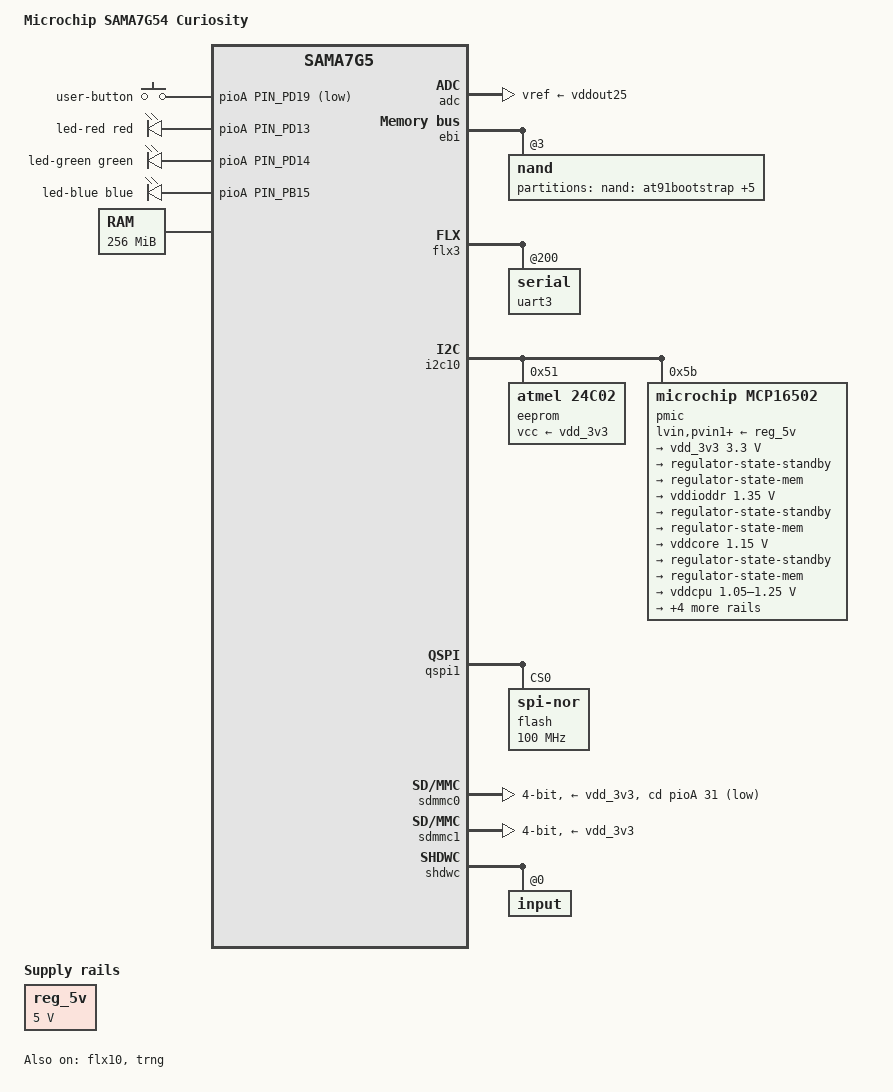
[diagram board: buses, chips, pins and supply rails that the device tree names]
// SPDX-License-Identifier: (GPL-2.0+ OR MIT)
/*
 * at91-sama7g54_curiosity.dts - Device Tree file for SAMA7G54 Curiosity Board
 *
 * Copyright (C) 2024 Microchip Technology Inc. and its subsidiaries
 *
 * Author: Mihai Sain <mihai.sain@microchip.com>
 *
 */
/dts-v1/;
#include "sama7g5-pinfunc.h"
#include "sama7g5.dtsi"
#include <dt-bindings/input/input.h>
#include <dt-bindings/leds/common.h>
#include <dt-bindings/mfd/atmel-flexcom.h>
#include <dt-bindings/pinctrl/at91.h>

/ {
	model = "Microchip SAMA7G54 Curiosity";
	compatible = "microchip,sama7g54-curiosity", "microchip,sama7g5", "microchip,sama7";

	aliases {
		serial0 = &uart3;
		i2c0 = &i2c10;
	};

	chosen {
		stdout-path = "serial0:115200n8";
	};

	gpio-keys {
		compatible = "gpio-keys";
		pinctrl-names = "default";
		pinctrl-0 = <&pinctrl_key_gpio_default>;

		button-user {
			label = "user-button";
			gpios = <&pioA PIN_PD19 GPIO_ACTIVE_LOW>;
			linux,code = <KEY_PROG1>;
			wakeup-source;
		};
	};

	leds {
		compatible = "gpio-leds";
		pinctrl-names = "default";
		pinctrl-0 = <&pinctrl_led_gpio_default>;

		led-red {
			color = <LED_COLOR_ID_RED>;
			function = LED_FUNCTION_POWER;
			gpios = <&pioA PIN_PD13 GPIO_ACTIVE_HIGH>;
			default-state = "off";
		};

		led-green {
			color = <LED_COLOR_ID_GREEN>;
			function = LED_FUNCTION_BOOT;
			gpios = <&pioA PIN_PD14 GPIO_ACTIVE_HIGH>;
			default-state = "off";
		};

		led-blue {
			color = <LED_COLOR_ID_BLUE>;
			function = LED_FUNCTION_CPU;
			gpios = <&pioA PIN_PB15 GPIO_ACTIVE_HIGH>;
			linux,default-trigger = "heartbeat";
		};
	};

	memory@60000000 {
		device_type = "memory";
		reg = <0x60000000 0x10000000>; /* 256 MiB DDR3L-1066 16-bit */
	};

	reg_5v: regulator-5v {
		compatible = "regulator-fixed";
		regulator-name = "5V_MAIN";
		regulator-min-microvolt = <5000000>;
		regulator-max-microvolt = <5000000>;
		regulator-always-on;
	};
};

&adc {
	vddana-supply = <&vddout25>;
	vref-supply = <&vddout25>;
	pinctrl-names = "default";
	pinctrl-0 = <&pinctrl_mikrobus1_an_default &pinctrl_mikrobus2_an_default>;
	status = "okay";
};

&cpu0 {
	cpu-supply = <&vddcpu>;
};

&dma0 {
	status = "okay";
};

&dma1 {
	status = "okay";
};

&dma2 {
	status = "okay";
};

&ebi {
	pinctrl-names = "default";
	pinctrl-0 = <&pinctrl_nand_default>;
	status = "okay";

	nand_controller: nand-controller {
		status = "okay";

		nand@3 {
			reg = <0x3 0x0 0x800000>;
			atmel,rb = <0>;
			nand-bus-width = <8>;
			nand-ecc-mode = "hw";
			nand-ecc-strength = <8>;
			nand-ecc-step-size = <512>;
			nand-on-flash-bbt;
			label = "nand";

			partitions {
				compatible = "fixed-partitions";
				#address-cells = <1>;
				#size-cells = <1>;

				at91bootstrap@0 {
					label = "nand: at91bootstrap";
					reg = <0x0 0x40000>;
				};

				bootloader@40000 {
					label = "nand: u-boot";
					reg = <0x40000 0x100000>;
				};

				bootloaderenv@140000 {
					label = "nand: u-boot env";
					reg = <0x140000 0x40000>;
				};

				dtb@180000 {
					label = "nand: device tree";
					reg = <0x180000 0x80000>;
				};

				kernel@200000 {
					label = "nand: kernel";
					reg = <0x200000 0x600000>;
				};

				rootfs@800000 {
					label = "nand: rootfs";
					reg = <0x800000 0x1f800000>;
				};
			};
		};
	};
};

&flx3 {
	atmel,flexcom-mode = <ATMEL_FLEXCOM_MODE_USART>;
	status = "okay";

	uart3: serial@200 {
		pinctrl-names = "default";
		pinctrl-0 = <&pinctrl_flx3_default>;
		status = "okay";
	};
};

&flx10 {
	atmel,flexcom-mode = <ATMEL_FLEXCOM_MODE_TWI>;
	status = "okay";

	i2c10: i2c@600 {
		pinctrl-names = "default";
		pinctrl-0 = <&pinctrl_flx10_default>;
		i2c-analog-filter;
		i2c-digital-filter;
		i2c-digital-filter-width-ns = <35>;
		status = "okay";

		eeprom@51 {
			compatible = "atmel,24c02";
			reg = <0x51>;
			pagesize = <16>;
			size = <256>;
			vcc-supply = <&vdd_3v3>;
		};

		pmic@5b {
			compatible = "microchip,mcp16502";
			reg = <0x5b>;
			lvin-supply = <&reg_5v>;
			pvin1-supply = <&reg_5v>;
			pvin2-supply = <&reg_5v>;
			pvin3-supply = <&reg_5v>;
			pvin4-supply = <&reg_5v>;

			regulators {
				vdd_3v3: VDD_IO {
					regulator-name = "VDD_IO";
					regulator-min-microvolt = <3300000>;
					regulator-max-microvolt = <3300000>;
					regulator-initial-mode = <2>;
					regulator-allowed-modes = <2>, <4>;
					regulator-always-on;

					regulator-state-standby {
						regulator-on-in-suspend;
						regulator-suspend-microvolt = <3300000>;
						regulator-mode = <4>;
					};

					regulator-state-mem {
						regulator-off-in-suspend;
						regulator-mode = <4>;
					};
				};

				vddioddr: VDD_DDR {
					regulator-name = "VDD_DDR";
					regulator-min-microvolt = <1350000>;
					regulator-max-microvolt = <1350000>;
					regulator-initial-mode = <2>;
					regulator-allowed-modes = <2>, <4>;
					regulator-always-on;

					regulator-state-standby {
						regulator-on-in-suspend;
						regulator-suspend-microvolt = <1350000>;
						regulator-mode = <4>;
					};

					regulator-state-mem {
						regulator-on-in-suspend;
						regulator-suspend-microvolt = <1350000>;
						regulator-mode = <4>;
					};
				};

				vddcore: VDD_CORE {
					regulator-name = "VDD_CORE";
					regulator-min-microvolt = <1150000>;
					regulator-max-microvolt = <1150000>;
					regulator-initial-mode = <2>;
					regulator-allowed-modes = <2>, <4>;
					regulator-always-on;

					regulator-state-standby {
						regulator-on-in-suspend;
						regulator-suspend-microvolt = <1150000>;
						regulator-mode = <4>;
					};

					regulator-state-mem {
						regulator-off-in-suspend;
						regulator-mode = <4>;
					};
				};

				vddcpu: VDD_OTHER {
					regulator-name = "VDD_OTHER";
					regulator-min-microvolt = <1050000>;
					regulator-max-microvolt = <1250000>;
					regulator-initial-mode = <2>;
					regulator-allowed-modes = <2>, <4>;
					regulator-ramp-delay = <3125>;
					regulator-always-on;

					regulator-state-standby {
						regulator-on-in-suspend;
						regulator-suspend-microvolt = <1050000>;
						regulator-mode = <4>;
					};

					regulator-state-mem {
						regulator-off-in-suspend;
						regulator-mode = <4>;
					};
				};

				vldo1: LDO1 {
					regulator-name = "LDO1";
					regulator-min-microvolt = <1800000>;
					regulator-max-microvolt = <1800000>;
					regulator-always-on;

					regulator-state-standby {
						regulator-suspend-microvolt = <1800000>;
						regulator-on-in-suspend;
					};

					regulator-state-mem {
						regulator-off-in-suspend;
					};
				};

				vldo2: LDO2 {
					regulator-name = "LDO2";
					regulator-min-microvolt = <3300000>;
					regulator-max-microvolt = <3300000>;
					regulator-always-on;

					regulator-state-standby {
						regulator-suspend-microvolt = <3300000>;
						regulator-on-in-suspend;
					};

					regulator-state-mem {
						regulator-off-in-suspend;
					};
				};
			};
		};
	};
};

&main_xtal {
	clock-frequency = <24000000>;
};

&qspi1 {
	pinctrl-names = "default";
	pinctrl-0 = <&pinctrl_qspi1_default>;
	status = "okay";

	flash@0 {
		compatible = "jedec,spi-nor";
		reg = <0x0>;
		spi-max-frequency = <100000000>;
		spi-tx-bus-width = <4>;
		spi-rx-bus-width = <4>;
		m25p,fast-read;
	};
};

&pioA {
	pinctrl_flx3_default: flx3-default {
		pinmux = <PIN_PD16__FLEXCOM3_IO0>,
			 <PIN_PD17__FLEXCOM3_IO1>;
		bias-pull-up;
	};

	pinctrl_flx10_default: flx10-default {
		pinmux = <PIN_PC30__FLEXCOM10_IO0>,
			 <PIN_PC31__FLEXCOM10_IO1>;
		bias-pull-up;
	};

	pinctrl_key_gpio_default: key-gpio-default {
		pinmux = <PIN_PD19__GPIO>;
		bias-pull-up;
	};

	pinctrl_led_gpio_default: led-gpio-default {
		pinmux = <PIN_PD13__GPIO>,
			 <PIN_PD14__GPIO>,
			 <PIN_PB15__GPIO>;
		bias-pull-up;
	};

	pinctrl_mikrobus1_an_default: mikrobus1-an-default {
		pinmux = <PIN_PC15__GPIO>;
		bias-disable;
	};

	pinctrl_mikrobus2_an_default: mikrobus2-an-default {
		pinmux = <PIN_PC13__GPIO>;
		bias-disable;
	};

	pinctrl_nand_default: nand-default {
		pinmux = <PIN_PD9__D0>,
			 <PIN_PD10__D1>,
			 <PIN_PD11__D2>,
			 <PIN_PC21__D3>,
			 <PIN_PC22__D4>,
			 <PIN_PC23__D5>,
			 <PIN_PC24__D6>,
			 <PIN_PD2__D7>,
			 <PIN_PD3__NANDRDY>,
			 <PIN_PD4__NCS3_NANDCS>,
			 <PIN_PD5__NWE_NWR0_NANDWE>,
			 <PIN_PD6__NRD_NANDOE>,
			 <PIN_PD7__A21_NANDALE>,
			 <PIN_PD8__A22_NANDCLE>;
		bias-disable;
		slew-rate = <0>;
	};

	pinctrl_qspi1_default: qspi1-default {
		pinmux = <PIN_PB22__QSPI1_IO3>,
			 <PIN_PB23__QSPI1_IO2>,
			 <PIN_PB24__QSPI1_IO1>,
			 <PIN_PB25__QSPI1_IO0>,
			 <PIN_PB26__QSPI1_CS>,
			 <PIN_PB27__QSPI1_SCK>;
		bias-pull-up;
		slew-rate = <0>;
	};

	pinctrl_sdmmc0_default: sdmmc0-default {
		pinmux = <PIN_PA0__SDMMC0_CK>,
			 <PIN_PA1__SDMMC0_CMD>,
			 <PIN_PA2__SDMMC0_RSTN>,
			 <PIN_PA3__SDMMC0_DAT0>,
			 <PIN_PA4__SDMMC0_DAT1>,
			 <PIN_PA5__SDMMC0_DAT2>,
			 <PIN_PA6__SDMMC0_DAT3>;
		bias-pull-up;
		slew-rate = <0>;
	};

	pinctrl_sdmmc1_default: sdmmc1-default {
		pinmux = <PIN_PB29__SDMMC1_CMD>,
			 <PIN_PB30__SDMMC1_CK>,
			 <PIN_PB31__SDMMC1_DAT0>,
			 <PIN_PC0__SDMMC1_DAT1>,
			 <PIN_PC1__SDMMC1_DAT2>,
			 <PIN_PC2__SDMMC1_DAT3>,
			 <PIN_PC4__SDMMC1_CD>;
		bias-pull-up;
		slew-rate = <0>;
	};
};

&rtt {
	atmel,rtt-rtc-time-reg = <&gpbr 0x0>;
};

/* M.2 slot for wireless card */
&sdmmc0 {
	bus-width = <4>;
	cd-gpios = <&pioA 31 GPIO_ACTIVE_LOW>;
	disable-wp;
	sdhci-caps-mask = <0x0 0x00200000>;
	vmmc-supply = <&vdd_3v3>;
	vqmmc-supply = <&vdd_3v3>;
	pinctrl-names = "default";
	pinctrl-0 = <&pinctrl_sdmmc0_default>;
	status = "okay";
};

/* micro SD socket */
&sdmmc1 {
	bus-width = <4>;
	disable-wp;
	sdhci-caps-mask = <0x0 0x00200000>;
	vmmc-supply = <&vdd_3v3>;
	vqmmc-supply = <&vdd_3v3>;
	pinctrl-names = "default";
	pinctrl-0 = <&pinctrl_sdmmc1_default>;
	status = "okay";
};

&slow_xtal {
	clock-frequency = <32768>;
};

&shdwc {
	debounce-delay-us = <976>;
	status = "okay";

	input@0 {
		reg = <0>;
	};
};

&tcb0 {
	timer0: timer@0 {
		compatible = "atmel,tcb-timer";
		reg = <0>;
	};

	timer1: timer@1 {
		compatible = "atmel,tcb-timer";
		reg = <1>;
	};
};

&trng {
	status = "okay";
};

&vddout25 {
	vin-supply = <&vdd_3v3>;
	status = "okay";
};
